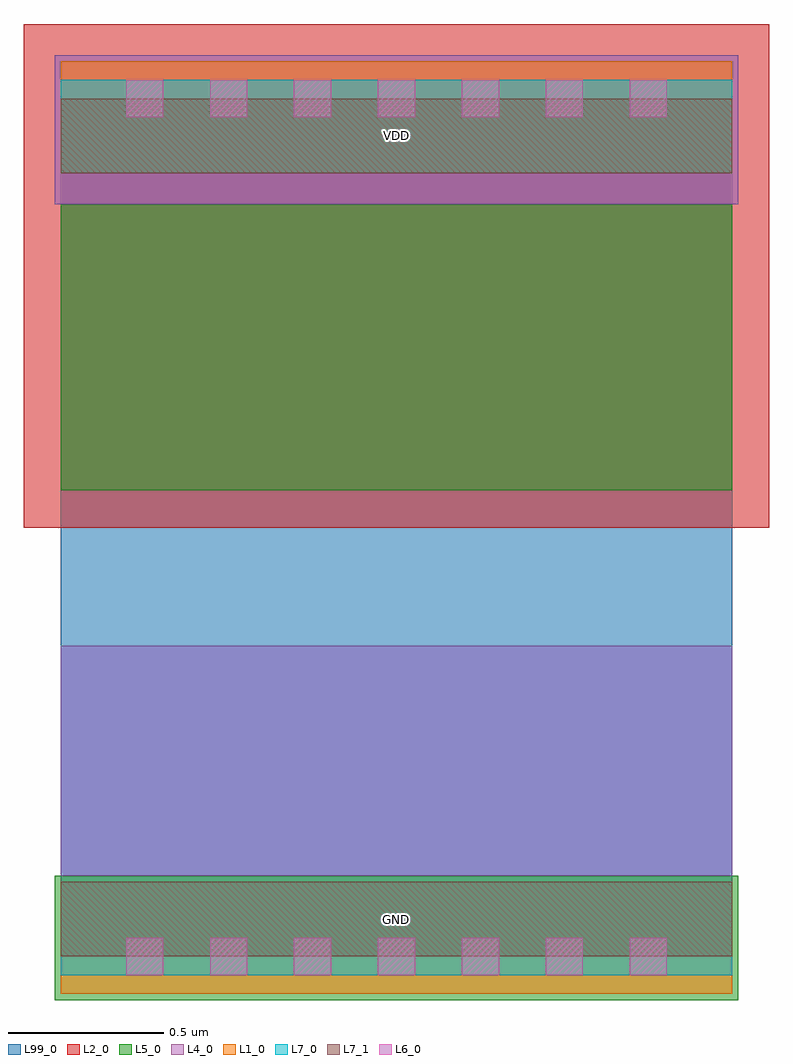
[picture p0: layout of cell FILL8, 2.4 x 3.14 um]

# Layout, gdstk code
import gdstk
lib = gdstk.Library(unit=1e-6, precision=5e-10)
def R(c, l, rs):  # rectangles x0, y0, x1, y1
    for r in rs: c.add(gdstk.rectangle(r[:2], r[2:], *l))
def A(c, l, x, y, w, h, nx, ny, dx, dy):  # array of equal rectangles
    R(c, l, [(x+i*dx, y+j*dy, x+i*dx+w, y+j*dy+h) for i in range(nx) for j in range(ny)])
L1_0 = (1, 0)
L2_0 = (2, 0)
L4_0 = (4, 0)
L5_0 = (5, 0)
L6_0 = (6, 0)
L7_0 = (7, 0)
L7_1 = (7, 1)
L99_0 = (99, 0)

fill8 = lib.new_cell('FILL8')
R(fill8, L1_0, [(0,-0.12,2.16,0.24), (0,2.52,2.16,2.88)])
R(fill8, L2_0, [(-0.12,1.38,2.28,3)])
R(fill8, L4_0, [(0,0.26,2.16,1), (-0.02,2.42,2.18,2.9)])
R(fill8, L5_0, [(-0.02,-0.14,2.18,0.26), (0,1.5,2.16,2.42)])
A(fill8, L6_0, 0.21, -0.06, 0.12, 0.12, 7, 2, 0.27, 2.76)
R(fill8, L7_0, [(0,-0.06,2.16,0.24), (0,2.52,2.16,2.82)])
R(fill8, L7_1, [(0,0,2.16,0.24), (0,2.52,2.16,2.76)])
R(fill8, L99_0, [(0,0,2.16,2.76)])
fill8.add(gdstk.Label('VDD', (1.08,2.64), layer=7, texttype=3))
fill8.add(gdstk.Label('GND', (1.08,0.12), layer=7, texttype=3))

lib.write_gds('FILL8.gds')
